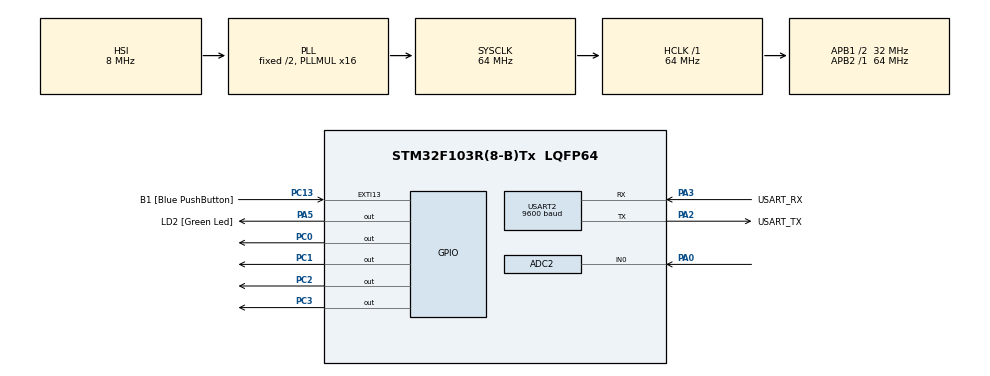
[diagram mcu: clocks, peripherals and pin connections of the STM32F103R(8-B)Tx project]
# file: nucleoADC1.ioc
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ADC2.Channel-1\#ChannelRegularConversion=ADC_CHANNEL_0
ADC2.ContinuousConvMode=ENABLE
ADC2.NbrOfConversionFlag=1
ADC2.Rank-1\#ChannelRegularConversion=1
ADC2.SamplingTime-1\#ChannelRegularConversion=ADC_SAMPLETIME_1CYCLE_5
Mcu.Family=STM32F1
Mcu.Name=STM32F103R(8-B)Tx
Mcu.Package=LQFP64
NVIC.EXTI15_10_IRQn=true\:0\:0\:false\:false\:true\:true\:true\:true
NVIC.PriorityGroup=NVIC_PRIORITYGROUP_4
PA0-WKUP.Signal=ADCx_IN0
PA13.GPIO_Label=TMS
PA13.Mode=Serial_Wire
PA13.Signal=SYS_JTMS-SWDIO
PA14.GPIO_Label=TCK
PA14.Mode=Serial_Wire
PA14.Signal=SYS_JTCK-SWCLK
PA2.GPIO_Label=USART_TX
PA2.GPIO_Mode=GPIO_MODE_AF_PP
PA2.GPIO_PuPd=GPIO_NOPULL
PA2.GPIO_Speed=GPIO_SPEED_FREQ_LOW
PA2.Mode=Asynchronous
PA2.Signal=USART2_TX
PA3.GPIO_Label=USART_RX
PA3.GPIO_Mode=GPIO_MODE_AF_PP
PA3.GPIO_PuPd=GPIO_NOPULL
PA3.GPIO_Speed=GPIO_SPEED_FREQ_LOW
PA3.Mode=Asynchronous
PA3.Signal=USART2_RX
PA5.GPIO_Label=LD2 [Green Led]
PA5.GPIO_ModeDefaultOutputPP=GPIO_MODE_OUTPUT_PP
PA5.GPIO_PuPd=GPIO_NOPULL
PA5.GPIO_Speed=GPIO_SPEED_FREQ_LOW
PA5.Signal=GPIO_Output
PB3.GPIO_Label=SWO
PB3.Signal=SYS_JTDO-TRACESWO
PC0.Signal=GPIO_Output
PC1.Signal=GPIO_Output
PC13-TAMPER-RTC.GPIO_Label=B1 [Blue PushButton]
PC13-TAMPER-RTC.GPIO_PuPd=GPIO_NOPULL
PC13-TAMPER-RTC.Signal=GPXTI13
PC14-OSC32_IN.Mode=LSE-External-Oscillator
PC14-OSC32_IN.Signal=RCC_OSC32_IN
PC15-OSC32_OUT.Mode=LSE-External-Oscillator
PC15-OSC32_OUT.Signal=RCC_OSC32_OUT
PC2.Signal=GPIO_Output
PC3.Signal=GPIO_Output
PD0-OSC_IN.Mode=HSE-External-Clock-Source
PD0-OSC_IN.Signal=RCC_OSC_IN
PD1-OSC_OUT.Mode=HSE-External-Clock-Source
PD1-OSC_OUT.Signal=RCC_OSC_OUT
ProjectManager.HeapSize=0x200
ProjectManager.StackSize=0x400
ProjectManager.TargetToolchain=STM32CubeIDE
RCC.ADCPresc=RCC_ADCPCLK2_DIV8
RCC.AHBFreq_Value=64000000
RCC.APB1CLKDivider=RCC_HCLK_DIV2
RCC.APB1Freq_Value=32000000
RCC.APB1TimFreq_Value=64000000
RCC.APB2Freq_Value=64000000
RCC.APB2TimFreq_Value=64000000
RCC.HCLKFreq_Value=64000000
RCC.PLLMUL=RCC_PLL_MUL16
RCC.RTCClockSelection=RCC_RTCCLKSOURCE_LSE
RCC.SYSCLKFreq_VALUE=64000000
RCC.SYSCLKSource=RCC_SYSCLKSOURCE_PLLCLK
RCC.USBFreq_Value=64000000
SH.ADCx_IN0.0=ADC2_IN0,IN0
USART2.BaudRate=9600
USART2.VirtualMode=VM_ASYNC
board=NUCLEO-F103RB

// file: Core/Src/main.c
/* USER CODE BEGIN Header */
/**
  ******************************************************************************
  * @file           : main.c
  * @brief          : Main program body
  ******************************************************************************
  * @attention
  *
  * Copyright (c) 2022 STMicroelectronics.
  * All rights reserved.
  *
  * This software is licensed under terms that can be found in the LICENSE file
  * in the root directory of this software component.
  * If no LICENSE file comes with this software, it is provided AS-IS.
  *
  ******************************************************************************
  */
/* USER CODE END Header */
#include "main.h"

/* USER CODE BEGIN Includes */
#include "stdio.h"
/* USER CODE END Includes */

 ADC_HandleTypeDef hadc2;

UART_HandleTypeDef huart2;

/* USER CODE BEGIN PV */
int adc_value;
int delay_time = 0;
ADC_ChannelConfTypeDef Adc_sConfig;
/* USER CODE END PV */

void SystemClock_Config(void);
static void MX_GPIO_Init(void);
static void MX_USART2_UART_Init(void);
static void MX_ADC2_Init(void);

/* USER CODE BEGIN 0 */
#ifdef __GNUC__
/* With GCC, small printf (option LD Linker->Libraries->Small printf
   set to 'Yes') calls __io_putchar() */
#define PUTCHAR_PROTOTYPE int __io_putchar(int ch)
#else
#define PUTCHAR_PROTOTYPE int fputc(int ch, FILE *f)
#endif /* __GNUC__ */

PUTCHAR_PROTOTYPE
{
  /* Place your implementation of fputc here */
  /* e.g. write a character to the USART1 and Loop until the end of transmission */
  HAL_UART_Transmit(&huart2, (uint8_t *)&ch, 1, 0xFFFF);

  return ch;
}
/* USER CODE END 0 */

int main(void)
{

  /* MCU Configuration--------------------------------------------------------*/

  /* Reset of all peripherals, Initializes the Flash interface and the Systick. */
  HAL_Init();

  /* Configure the system clock */
  SystemClock_Config();

  /* Initialize all configured peripherals */
  MX_GPIO_Init();
  MX_USART2_UART_Init();
  MX_ADC2_Init();

  /* Infinite loop */
  while (1)
  {

    /* USER CODE BEGIN 3 */

	  HAL_ADC_Start(&hadc2);
	  HAL_ADC_PollForConversion(&hadc2, 10);
	  adc_value = HAL_ADC_GetValue(&hadc2);
//	  HAL_ADC_Stop(&hadc2);
	  printf("%d\n\r",adc_value);
	  HAL_Delay(10);

  }
  /* USER CODE END 3 */
}

void SystemClock_Config(void)
{
  RCC_OscInitTypeDef RCC_OscInitStruct = {0};
  RCC_ClkInitTypeDef RCC_ClkInitStruct = {0};
  RCC_PeriphCLKInitTypeDef PeriphClkInit = {0};

  /** Initializes the RCC Oscillators according to the specified parameters
  * in the RCC_OscInitTypeDef structure.
  */
  RCC_OscInitStruct.OscillatorType = RCC_OSCILLATORTYPE_HSI;
  RCC_OscInitStruct.HSIState = RCC_HSI_ON;
  RCC_OscInitStruct.HSICalibrationValue = RCC_HSICALIBRATION_DEFAULT;
  RCC_OscInitStruct.PLL.PLLState = RCC_PLL_ON;
  RCC_OscInitStruct.PLL.PLLSource = RCC_PLLSOURCE_HSI_DIV2;
  RCC_OscInitStruct.PLL.PLLMUL = RCC_PLL_MUL16;
  if (HAL_RCC_OscConfig(&RCC_OscInitStruct) != HAL_OK)
  {
    Error_Handler();
  }

  /** Initializes the CPU, AHB and APB buses clocks
  */
  RCC_ClkInitStruct.ClockType = RCC_CLOCKTYPE_HCLK|RCC_CLOCKTYPE_SYSCLK
                              |RCC_CLOCKTYPE_PCLK1|RCC_CLOCKTYPE_PCLK2;
  RCC_ClkInitStruct.SYSCLKSource = RCC_SYSCLKSOURCE_PLLCLK;
  RCC_ClkInitStruct.AHBCLKDivider = RCC_SYSCLK_DIV1;
  RCC_ClkInitStruct.APB1CLKDivider = RCC_HCLK_DIV2;
  RCC_ClkInitStruct.APB2CLKDivider = RCC_HCLK_DIV1;

  if (HAL_RCC_ClockConfig(&RCC_ClkInitStruct, FLASH_LATENCY_2) != HAL_OK)
  {
    Error_Handler();
  }
  PeriphClkInit.PeriphClockSelection = RCC_PERIPHCLK_ADC;
  PeriphClkInit.AdcClockSelection = RCC_ADCPCLK2_DIV8;
  if (HAL_RCCEx_PeriphCLKConfig(&PeriphClkInit) != HAL_OK)
  {
    Error_Handler();
  }
}

static void MX_ADC2_Init(void)
{

  ADC_ChannelConfTypeDef sConfig = {0};

  /** Common config
  */
  hadc2.Instance = ADC2;
  hadc2.Init.ScanConvMode = ADC_SCAN_DISABLE;
  hadc2.Init.ContinuousConvMode = ENABLE;
  hadc2.Init.DiscontinuousConvMode = DISABLE;
  hadc2.Init.ExternalTrigConv = ADC_SOFTWARE_START;
  hadc2.Init.DataAlign = ADC_DATAALIGN_RIGHT;
  hadc2.Init.NbrOfConversion = 1;
  if (HAL_ADC_Init(&hadc2) != HAL_OK)
  {
    Error_Handler();
  }

  /** Configure Regular Channel
  */
  sConfig.Channel = ADC_CHANNEL_0;
  sConfig.Rank = ADC_REGULAR_RANK_1;
  sConfig.SamplingTime = ADC_SAMPLETIME_1CYCLE_5;
  if (HAL_ADC_ConfigChannel(&hadc2, &sConfig) != HAL_OK)
  {
    Error_Handler();
  }

}

static void MX_USART2_UART_Init(void)
{

  huart2.Instance = USART2;
  huart2.Init.BaudRate = 9600;
  huart2.Init.WordLength = UART_WORDLENGTH_8B;
  huart2.Init.StopBits = UART_STOPBITS_1;
  huart2.Init.Parity = UART_PARITY_NONE;
  huart2.Init.Mode = UART_MODE_TX_RX;
  huart2.Init.HwFlowCtl = UART_HWCONTROL_NONE;
  huart2.Init.OverSampling = UART_OVERSAMPLING_16;
  if (HAL_UART_Init(&huart2) != HAL_OK)
  {
    Error_Handler();
  }

}

static void MX_GPIO_Init(void)
{
  GPIO_InitTypeDef GPIO_InitStruct = {0};

  /* GPIO Ports Clock Enable */
  __HAL_RCC_GPIOC_CLK_ENABLE();
  __HAL_RCC_GPIOD_CLK_ENABLE();
  __HAL_RCC_GPIOA_CLK_ENABLE();
  __HAL_RCC_GPIOB_CLK_ENABLE();

  /*Configure GPIO pin Output Level */
  HAL_GPIO_WritePin(GPIOC, GPIO_PIN_0|GPIO_PIN_1|GPIO_PIN_2|GPIO_PIN_3, GPIO_PIN_RESET);

  /*Configure GPIO pin Output Level */
  HAL_GPIO_WritePin(LD2_GPIO_Port, LD2_Pin, GPIO_PIN_RESET);

  /*Configure GPIO pin : B1_Pin */
  GPIO_InitStruct.Pin = B1_Pin;
  GPIO_InitStruct.Mode = GPIO_MODE_IT_RISING;
  GPIO_InitStruct.Pull = GPIO_NOPULL;
  HAL_GPIO_Init(B1_GPIO_Port, &GPIO_InitStruct);

  /*Configure GPIO pins : PC0 PC1 PC2 PC3 */
  GPIO_InitStruct.Pin = GPIO_PIN_0|GPIO_PIN_1|GPIO_PIN_2|GPIO_PIN_3;
  GPIO_InitStruct.Mode = GPIO_MODE_OUTPUT_PP;
  GPIO_InitStruct.Pull = GPIO_NOPULL;
  GPIO_InitStruct.Speed = GPIO_SPEED_FREQ_LOW;
  HAL_GPIO_Init(GPIOC, &GPIO_InitStruct);

  /*Configure GPIO pin : LD2_Pin */
  GPIO_InitStruct.Pin = LD2_Pin;
  GPIO_InitStruct.Mode = GPIO_MODE_OUTPUT_PP;
  GPIO_InitStruct.Pull = GPIO_NOPULL;
  GPIO_InitStruct.Speed = GPIO_SPEED_FREQ_LOW;
  HAL_GPIO_Init(LD2_GPIO_Port, &GPIO_InitStruct);

  /* EXTI interrupt init*/
  HAL_NVIC_SetPriority(EXTI15_10_IRQn, 0, 0);
  HAL_NVIC_EnableIRQ(EXTI15_10_IRQn);

}

void Error_Handler(void)
{
  __disable_irq();
  while (1)
  {
  }
}
